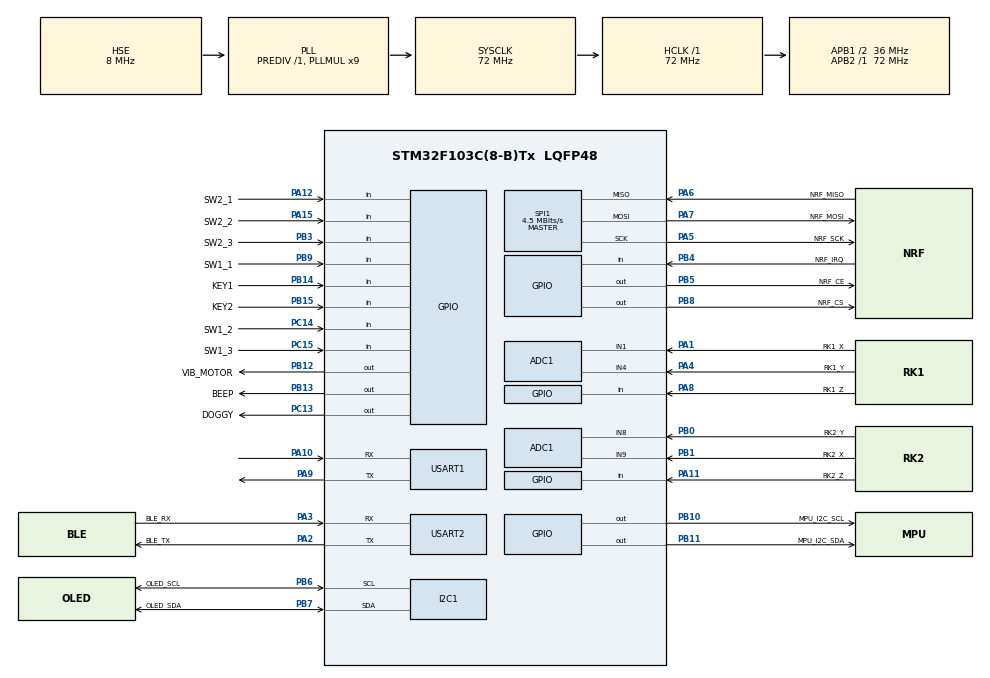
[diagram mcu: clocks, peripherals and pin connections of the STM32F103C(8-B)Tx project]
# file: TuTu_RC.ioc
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ADC1.Channel-0\#ChannelRegularConversion=ADC_CHANNEL_4
ADC1.Channel-5\#ChannelRegularConversion=ADC_CHANNEL_1
ADC1.Channel-6\#ChannelRegularConversion=ADC_CHANNEL_8
ADC1.Channel-7\#ChannelRegularConversion=ADC_CHANNEL_9
ADC1.ContinuousConvMode=ENABLE
ADC1.NbrOfConversion=4
ADC1.NbrOfConversionFlag=1
ADC1.Rank-0\#ChannelRegularConversion=1
ADC1.Rank-5\#ChannelRegularConversion=2
ADC1.Rank-6\#ChannelRegularConversion=3
ADC1.Rank-7\#ChannelRegularConversion=4
ADC1.SamplingTime-0\#ChannelRegularConversion=ADC_SAMPLETIME_55CYCLES_5
ADC1.SamplingTime-5\#ChannelRegularConversion=ADC_SAMPLETIME_55CYCLES_5
ADC1.SamplingTime-6\#ChannelRegularConversion=ADC_SAMPLETIME_55CYCLES_5
ADC1.SamplingTime-7\#ChannelRegularConversion=ADC_SAMPLETIME_55CYCLES_5
ADC1.master=1
Dma.ADC1.0.Direction=DMA_PERIPH_TO_MEMORY
Dma.ADC1.0.Instance=DMA1_Channel1
Dma.ADC1.0.MemDataAlignment=DMA_MDATAALIGN_HALFWORD
Dma.ADC1.0.MemInc=DMA_MINC_ENABLE
Dma.ADC1.0.Mode=DMA_CIRCULAR
Dma.ADC1.0.PeriphDataAlignment=DMA_PDATAALIGN_HALFWORD
Dma.ADC1.0.PeriphInc=DMA_PINC_DISABLE
Dma.ADC1.0.Priority=DMA_PRIORITY_MEDIUM
Dma.Request0=ADC1
Mcu.Family=STM32F1
Mcu.Name=STM32F103C(8-B)Tx
Mcu.Package=LQFP48
NVIC.DMA1_Channel1_IRQn=true\:0\:0\:false\:false\:true\:false\:true\:true
NVIC.PriorityGroup=NVIC_PRIORITYGROUP_4
PA1.GPIO_Label=RK1_X
PA1.Signal=ADCx_IN1
PA10.Mode=Asynchronous
PA10.Signal=USART1_RX
PA11.GPIO_Label=RK2_Z
PA11.Signal=GPIO_Input
PA12.GPIO_Label=SW2_1
PA12.Signal=GPIO_Input
PA13.Mode=Serial_Wire
PA13.Signal=SYS_JTMS-SWDIO
PA14.Mode=Serial_Wire
PA14.Signal=SYS_JTCK-SWCLK
PA15.GPIO_Label=SW2_2
PA15.Signal=GPIO_Input
PA2.GPIO_Label=BLE_TX
PA2.Mode=Asynchronous
PA2.Signal=USART2_TX
PA3.GPIO_Label=BLE_RX
PA3.Mode=Asynchronous
PA3.Signal=USART2_RX
PA4.GPIO_Label=RK1_Y
PA4.Signal=ADCx_IN4
PA5.GPIO_Label=NRF_SCK
PA5.Mode=Full_Duplex_Master
PA5.Signal=SPI1_SCK
PA6.GPIO_Label=NRF_MISO
PA6.Mode=Full_Duplex_Master
PA6.Signal=SPI1_MISO
PA7.GPIO_Label=NRF_MOSI
PA7.Mode=Full_Duplex_Master
PA7.Signal=SPI1_MOSI
PA8.GPIO_Label=RK1_Z
PA8.Signal=GPIO_Input
PA9.Mode=Asynchronous
PA9.Signal=USART1_TX
PB0.GPIO_Label=RK2_Y
PB0.Signal=ADCx_IN8
PB1.GPIO_Label=RK2_X
PB1.Signal=ADCx_IN9
PB10.GPIO_Label=MPU_I2C_SCL
PB10.GPIO_ModeDefaultOutputPP=GPIO_MODE_OUTPUT_OD
PB10.GPIO_PuPd=GPIO_PULLUP
PB10.GPIO_Speed=GPIO_SPEED_FREQ_HIGH
PB10.Signal=GPIO_Output
PB11.GPIO_Label=MPU_I2C_SDA
PB11.GPIO_ModeDefaultOutputPP=GPIO_MODE_OUTPUT_OD
PB11.GPIO_PuPd=GPIO_PULLUP
PB11.GPIO_Speed=GPIO_SPEED_FREQ_HIGH
PB11.Signal=GPIO_Output
PB12.GPIO_Label=VIB_MOTOR
PB12.Signal=GPIO_Output
PB13.GPIO_Label=BEEP
PB13.Signal=GPIO_Output
PB14.GPIO_Label=KEY1
PB14.Signal=GPIO_Input
PB15.GPIO_Label=KEY2
PB15.Signal=GPIO_Input
PB3.GPIO_Label=SW2_3
PB3.Signal=GPIO_Input
PB4.GPIO_Label=NRF_IRQ
PB4.Signal=GPIO_Input
PB5.GPIO_Label=NRF_CE
PB5.Signal=GPIO_Output
PB6.GPIO_Label=OLED_SCL
PB6.Mode=I2C
PB6.Signal=I2C1_SCL
PB7.GPIO_Label=OLED_SDA
PB7.Mode=I2C
PB7.Signal=I2C1_SDA
PB8.GPIO_Label=NRF_CS
PB8.Signal=GPIO_Output
PB9.GPIO_Label=SW1_1
PB9.Signal=GPIO_Input
PC13-TAMPER-RTC.GPIO_Label=DOGGY
PC13-TAMPER-RTC.Signal=GPIO_Output
PC14-OSC32_IN.GPIO_Label=SW1_2
PC14-OSC32_IN.Signal=GPIO_Input
PC15-OSC32_OUT.GPIO_Label=SW1_3
PC15-OSC32_OUT.Signal=GPIO_Input
PD0-OSC_IN.Mode=HSE-External-Oscillator
PD0-OSC_IN.Signal=RCC_OSC_IN
PD1-OSC_OUT.Mode=HSE-External-Oscillator
PD1-OSC_OUT.Signal=RCC_OSC_OUT
ProjectManager.HeapSize=0x200
ProjectManager.StackSize=0x400
ProjectManager.TargetToolchain=MDK-ARM V5
RCC.ADCPresc=RCC_ADCPCLK2_DIV6
RCC.AHBFreq_Value=72000000
RCC.APB1CLKDivider=RCC_HCLK_DIV2
RCC.APB1Freq_Value=36000000
RCC.APB1TimFreq_Value=72000000
RCC.APB2Freq_Value=72000000
RCC.APB2TimFreq_Value=72000000
RCC.HCLKFreq_Value=72000000
RCC.PLLMUL=RCC_PLL_MUL9
RCC.PLLSourceVirtual=RCC_PLLSOURCE_HSE
RCC.SYSCLKFreq_VALUE=72000000
RCC.SYSCLKSource=RCC_SYSCLKSOURCE_PLLCLK
RCC.USBFreq_Value=72000000
SH.ADCx_IN1.0=ADC1_IN1,IN1
SH.ADCx_IN4.0=ADC1_IN4,IN4
SH.ADCx_IN8.0=ADC1_IN8,IN8
SH.ADCx_IN9.0=ADC1_IN9,IN9
SPI1.BaudRatePrescaler=SPI_BAUDRATEPRESCALER_16
SPI1.CalculateBaudRate=4.5 MBits/s
SPI1.Direction=SPI_DIRECTION_2LINES
SPI1.Mode=SPI_MODE_MASTER
SPI1.VirtualType=VM_MASTER
TIM4.Prescaler=72-1
USART1.VirtualMode=VM_ASYNC
USART2.VirtualMode=VM_ASYNC
VP_TIM4_VS_ClockSourceINT.Mode=Internal
board=custom

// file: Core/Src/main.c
/* USER CODE BEGIN Header */
/**
  ******************************************************************************
  * @file           : main.c
  * @brief          : Main program body
  ******************************************************************************
  * @attention
  *
  * Copyright (c) 2024 STMicroelectronics.
  * All rights reserved.
  *
  * This software is licensed under terms that can be found in the LICENSE file
  * in the root directory of this software component.
  * If no LICENSE file comes with this software, it is provided AS-IS.
  *
  ******************************************************************************
  */
/* USER CODE END Header */
#include "main.h"
#include "adc.h"
#include "dma.h"
#include "i2c.h"
#include "spi.h"
#include "tim.h"
#include "usart.h"
#include "gpio.h"

/* USER CODE BEGIN Includes */
#include "oled_u8g2.h"
#include "nrf24l01.h"
#include "rc.h"
#include "buzzer.h"
#include "vib_motor.h"
#include "mpu6050.h"

#ifdef MODULE_MPU6050
#include "inv_mpu.h"
#include "inv_mpu_dmp_motion_driver.h"
#endif
/* USER CODE END Includes */

void SystemClock_Config(void);

int main(void)
{

  /* MCU Configuration--------------------------------------------------------*/

  /* Reset of all peripherals, Initializes the Flash interface and the Systick. */
  HAL_Init();

  /* USER CODE BEGIN Init */
	HAL_Delay(100); // for oled

  /* USER CODE END Init */

  /* Configure the system clock */
  SystemClock_Config();

  /* Initialize all configured peripherals */
  MX_GPIO_Init();
  MX_DMA_Init();
  MX_I2C1_Init();
  MX_USART1_UART_Init();
  MX_USART2_UART_Init();
  MX_TIM4_Init();
  MX_ADC1_Init();
  MX_SPI1_Init();
  /* USER CODE BEGIN 2 */
  BUZZER_init();
  VIBMOTOR_init();
  OLED_U8G2_init();
  RC_init();

// #ifdef MODULE_MPU6050
//   MPU_Init();					       //��ʼ��MPU6050
//   uint8_t res = 0;
//   do{
//     res = mpu_dmp_init();
// 		ERR_LOG("mpu_dmp_init fail code: %d\r\n",res);
// 	}while (res);
// #endif

  HAL_Delay(2000);
  BUZZER_beep_twice();
  VIBMOTOR_vibrate_once();
  INF_LOG("tutu rc start!\r\n");
  /* USER CODE END 2 */

  /* Infinite loop */
  /* USER CODE BEGIN WHILE */
  uint64_t loop_cnt=0;
  RC_MODE rc_mode = RC_KEYS;
  while (1)
  {
    /* USER CODE END WHILE */

    /* USER CODE BEGIN 3 */
    // OLED_U8G2_draw_test();
    // RK_get_xyzVal();
    imu_data_t imu_data;
// #ifdef MODULE_MPU6050
//     res = mpu_dmp_get_data(&imu_data);
//     if(!res)
// 			imu_data.temp = MPU_Get_Temperature();
// 		else
//       ERR_LOG("mpu_dmp_get_data fail: %d\r\n", res);
// #endif
    //////////////////////////////  1s   /////////////////////////////////
    if (loop_cnt % 100 == 0) {
      HAL_GPIO_TogglePin(DOGGY_GPIO_Port, DOGGY_Pin);
      // printf("hello purui!\r\n");
#ifdef MODULE_MPU6050
      // OLED_U8G2_draw_mpu6050(&imu_data);
#endif
    }
    //////////////////////////////  50ms   /////////////////////////////////
    if (loop_cnt % 5 == 1) {
      rc_keys_t rc_keys = RC_get_keys();
      if (rc_keys.sw_right.sw_2) {
        if (rc_mode == RC_KEYS){ // 第一次切换�?�来
        #ifdef MODULE_MPU6050
          MPU_Init();
          uint8_t res = 0;
          do{
            res = mpu_dmp_init();
            ERR_LOG("mpu_dmp_init fail code: %d\r\n",res);
          }while (res);
        #endif
          VIBMOTOR_vibrate_once();
        }
        rc_mode = RC_IMU;
        #ifdef MODULE_MPU6050
            uint8_t res = mpu_dmp_get_data(&imu_data);
            if(!res)
              imu_data.temp = MPU_Get_Temperature();
            else
              ERR_LOG("mpu_dmp_get_data fail: %d\r\n", res);
        #endif
      }else {
        rc_mode = RC_KEYS;
      }
      RC_control(&imu_data, &rc_keys);
    }

    HAL_Delay(10);
    loop_cnt++;
  }
  /* USER CODE END 3 */
}

void SystemClock_Config(void)
{
  RCC_OscInitTypeDef RCC_OscInitStruct = {0};
  RCC_ClkInitTypeDef RCC_ClkInitStruct = {0};
  RCC_PeriphCLKInitTypeDef PeriphClkInit = {0};

  /** Initializes the RCC Oscillators according to the specified parameters
  * in the RCC_OscInitTypeDef structure.
  */
  RCC_OscInitStruct.OscillatorType = RCC_OSCILLATORTYPE_HSE;
  RCC_OscInitStruct.HSEState = RCC_HSE_ON;
  RCC_OscInitStruct.HSEPredivValue = RCC_HSE_PREDIV_DIV1;
  RCC_OscInitStruct.HSIState = RCC_HSI_ON;
  RCC_OscInitStruct.PLL.PLLState = RCC_PLL_ON;
  RCC_OscInitStruct.PLL.PLLSource = RCC_PLLSOURCE_HSE;
  RCC_OscInitStruct.PLL.PLLMUL = RCC_PLL_MUL9;
  if (HAL_RCC_OscConfig(&RCC_OscInitStruct) != HAL_OK)
  {
    Error_Handler();
  }

  /** Initializes the CPU, AHB and APB buses clocks
  */
  RCC_ClkInitStruct.ClockType = RCC_CLOCKTYPE_HCLK|RCC_CLOCKTYPE_SYSCLK
                              |RCC_CLOCKTYPE_PCLK1|RCC_CLOCKTYPE_PCLK2;
  RCC_ClkInitStruct.SYSCLKSource = RCC_SYSCLKSOURCE_PLLCLK;
  RCC_ClkInitStruct.AHBCLKDivider = RCC_SYSCLK_DIV1;
  RCC_ClkInitStruct.APB1CLKDivider = RCC_HCLK_DIV2;
  RCC_ClkInitStruct.APB2CLKDivider = RCC_HCLK_DIV1;

  if (HAL_RCC_ClockConfig(&RCC_ClkInitStruct, FLASH_LATENCY_2) != HAL_OK)
  {
    Error_Handler();
  }
  PeriphClkInit.PeriphClockSelection = RCC_PERIPHCLK_ADC;
  PeriphClkInit.AdcClockSelection = RCC_ADCPCLK2_DIV6;
  if (HAL_RCCEx_PeriphCLKConfig(&PeriphClkInit) != HAL_OK)
  {
    Error_Handler();
  }
}

void Error_Handler(void)
{
  __disable_irq();
  while (1)
  {
  }
}
